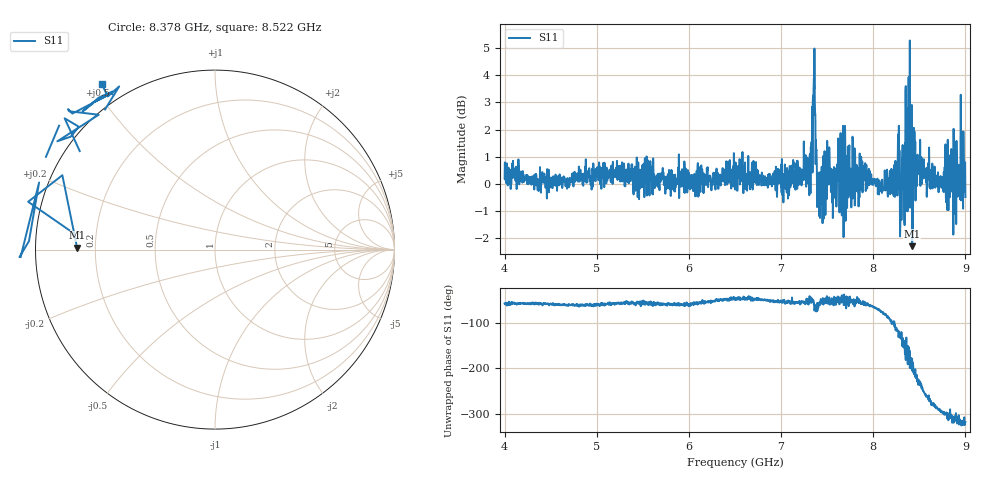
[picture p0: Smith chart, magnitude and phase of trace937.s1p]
! Created with skrf 1.8.0 (http://scikit-rf.org).
# Hz S RI R 50.0
!freq ReS11 ImS11
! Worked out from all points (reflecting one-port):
!   1601 points, 4 GHz to 9 GHz, reference 50 ohm
!   lowest |S11| = -2.3 dB at 8.422 GHz (marker M1), VSWR 7.65, Z = 6.54 + j0.355 ohm
!   phase of S11 starts at -57 deg and turns -262 deg over the sweep
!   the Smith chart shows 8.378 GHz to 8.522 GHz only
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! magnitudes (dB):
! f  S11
! 4 GHz  0.2
! 4.625 GHz  -0.1
! 5.25 GHz  0.2
! 5.875 GHz  0.0
! 6.5 GHz  0.1
! 7.125 GHz  0.3
! 7.294 GHz  0.0
! 7.316 GHz  1.1
! 7.347 GHz  3.3
! 7.369 GHz  2.6
! 7.397 GHz  -0.2
! 7.425 GHz  0.4
! 7.509 GHz  0.5
! 7.578 GHz  0.3
! 7.65 GHz  -0.1
! 7.703 GHz  0.2
! 7.75 GHz  0.3
! 8.097 GHz  0.2
! 8.262 GHz  -0.4
! 8.316 GHz  1.0
! 8.334 GHz  0.3
! 8.35 GHz  3.4
! 8.375 GHz  0.8
! 8.422 GHz  -2.3
! 8.447 GHz  1.9
! 8.747 GHz  0.0
! 8.972 GHz  0.2
! 9 GHz  -0.5
